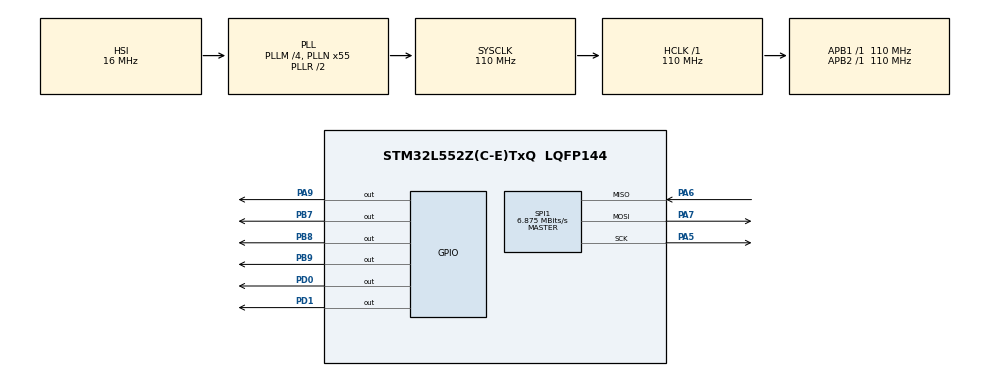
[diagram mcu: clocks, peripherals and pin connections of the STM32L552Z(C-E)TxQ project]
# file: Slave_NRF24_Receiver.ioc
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Mcu.Family=STM32L5
Mcu.Name=STM32L552Z(C-E)TxQ
Mcu.Package=LQFP144
NVIC.PriorityGroup=NVIC_PRIORITYGROUP_3
PA5.Mode=Full_Duplex_Master
PA5.Signal=SPI1_SCK
PA6.Mode=Full_Duplex_Master
PA6.Signal=SPI1_MISO
PA7.Mode=Full_Duplex_Master
PA7.Signal=SPI1_MOSI
PA9.Signal=GPIO_Output
PB7.Signal=GPIO_Output
PB8.Signal=GPIO_Output
PB9.Signal=GPIO_Output
PD0.Signal=GPIO_Output
PD1.Signal=GPIO_Output
PH0-OSC_IN\ (PH0).Mode=HSE-External-Clock-Source
PH0-OSC_IN\ (PH0).Signal=RCC_OSC_IN
ProjectManager.HeapSize=0x200
ProjectManager.StackSize=0x400
ProjectManager.TargetToolchain=STM32CubeIDE
RCC.AHBFreq_Value=110000000
RCC.APB1Freq_Value=110000000
RCC.APB1TimFreq_Value=110000000
RCC.APB2Freq_Value=110000000
RCC.APB2TimFreq_Value=110000000
RCC.CortexFreq_Value=110000000
RCC.HCLKFreq_Value=110000000
RCC.HSE_VALUE=8000000
RCC.HSI48_VALUE=48000000
RCC.HSI_VALUE=16000000
RCC.LSE_VALUE=32768
RCC.MSI_VALUE=4000000
RCC.PLLM=4
RCC.PLLN=55
RCC.PLLSourceVirtual=RCC_PLLSOURCE_HSI
RCC.SYSCLKFreq_VALUE=110000000
RCC.SYSCLKSource=RCC_SYSCLKSOURCE_PLLCLK
RCC.VCOOutputFreq_Value=220000000
SPI1.BaudRatePrescaler=SPI_BAUDRATEPRESCALER_16
SPI1.CalculateBaudRate=6.875 MBits/s
SPI1.DataSize=SPI_DATASIZE_8BIT
SPI1.Direction=SPI_DIRECTION_2LINES
SPI1.Mode=SPI_MODE_MASTER
SPI1.VirtualType=VM_MASTER
VP_PWR_VS_DBSignals.Mode=DisableDeadBatterySignals
VP_PWR_VS_SECSignals.Mode=Security/Privilege
VP_TIM2_VS_ClockSourceINT.Mode=Internal
board=custom

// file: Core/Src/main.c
/* USER CODE BEGIN Header */
/**
  ******************************************************************************
  * @file           : main.c
  * @brief          : Main program body
  ******************************************************************************
  * @attention
  *
  * Copyright (c) 2022 STMicroelectronics.
  * All rights reserved.
  *
  * This software is licensed under terms that can be found in the LICENSE file
  * in the root directory of this software component.
  * If no LICENSE file comes with this software, it is provided AS-IS.
  *
  ******************************************************************************
  */
/* USER CODE END Header */
#include "main.h"

/* USER CODE BEGIN Includes */
#include "NRF24L01.h"
#include "stdio.h"
#include "string.h"
/* USER CODE END Includes */

SPI_HandleTypeDef hspi1;

TIM_HandleTypeDef htim2;

void SystemClock_Config(void);
static void MX_GPIO_Init(void);
static void MX_SPI1_Init(void);
static void MX_TIM2_Init(void);

int main(void)
{

  /* MCU Configuration--------------------------------------------------------*/

  /* Reset of all peripherals, Initializes the Flash interface and the Systick. */
  HAL_Init();

  /* Configure the system clock */
  SystemClock_Config();

  /* Initialize all configured peripherals */
  MX_GPIO_Init();
  MX_SPI1_Init();
  MX_TIM2_Init();
  /* USER CODE BEGIN 2 */
  	NRF24_Init();
    uint8_t RxAddress[] = {0x00,0xDD,0xCC,0xBB,0xAA};
    NRF24_RxMode(RxAddress, 10);
    uint8_t RxData[4];
    uint8_t data[50];
    NRF24_ReadAll(data);

  /* USER CODE END 2 */

  /* Infinite loop */
  /* USER CODE BEGIN WHILE */
  uint32_t tmp=0;
  uint8_t test_status[1] = {0x07};

  while (!isDataAvailable(2)){
  }
  NRF24_Receive(RxData);
  	  for (int i=3; i>=0; i--){
  	  	  tmp |= RxData[i]<<i*8;
  	  }
  	  uwTick = tmp+1;
  /*
  uint8_t data_isavailable=0;
  nrf24_WriteReg(STATUS, (1<<6));
  HAL_GPIO_WritePin(GPIOB, GPIO_PIN_9, GPIO_PIN_RESET);
  while (1){
	  HAL_SPI_Transmit(&hspi1, test_status, 1, 100);
	  HAL_SPI_Receive(&hspi1, &data_isavailable, 1, 100);
	  if ((data_isavailable&(1<<6))&&(data_isavailable&(2<<1))){
	  	HAL_GPIO_WritePin(GPIOB, GPIO_PIN_9, GPIO_PIN_SET);
	  	NRF24_Receive(RxData);
	  	for (int i=3; i>=0; i--){
	  		tmp |= RxData[i]<<i*8;
	  	}
	  	uwTick = tmp+1;
	  	HAL_GPIO_TogglePin(GPIOB, GPIO_PIN_7);
	  	break;
	  }
	  //nrf24_WriteReg(STATUS, (1<<6));
  }
  */

  while (1)
  {
	  HAL_GPIO_TogglePin(GPIOA, GPIO_PIN_9);
	  HAL_Delay(500);

	  /*
	  	if (uwTick%1000==0 && check_is_sync==1) {
	  		if (count-1==tmp_count){
	  			tmp_count=0;
	  			HAL_GPIO_TogglePin(GPIOA, GPIO_PIN_9);
	  			HAL_GPIO_TogglePin(GPIOD, GPIO_PIN_1);
	  			HAL_Delay(1);
	  		} else tmp_count++;
	  	}
	    if (uwTick != tmp_uwTick && check_is_sync==0) {
	    	tmp_uwTick = uwTick;
	    	count = 0;
	    } else if (check_is_sync==0) count++;

	  	if (check_is_sync==0){
			uint8_t data_isavailable=0;
			HAL_GPIO_WritePin(GPIOB, GPIO_PIN_9, GPIO_PIN_RESET);
			HAL_SPI_Transmit(&hspi1, test_status, 1, 100);
			HAL_SPI_Receive(&hspi1, &data_isavailable, 1, 100);
			HAL_GPIO_WritePin(GPIOB, GPIO_PIN_9, GPIO_PIN_SET);

			if ((data_isavailable&(1<<6))&&(data_isavailable&(2<<1))){
				if (count<3000) {//as soon as data is available will check the time.
					NRF24_Receive(RxData);
					for (int i=3; i>=0; i--){
						tmp |= RxData[i]<<i*8;
					}
					uwTick = tmp+2;
					check_is_sync = 1;
					HAL_GPIO_TogglePin(GPIOB, GPIO_PIN_7);
				}
				nrf24_WriteReg(STATUS, (1<<6));
			}
	  	}*/

	  /*
	  if (isDataAvailable(2) == 1 && check==0) {
			NRF24_Receive(RxData);
			for (int i=3; i>=0; i--){
				tmp |= RxData[i]<<i*8;
			}
			uwTick = tmp;
			check = 1;
			HAL_GPIO_TogglePin(GPIOB, GPIO_PIN_7);
			//tmp |= RxData[3]<<24;
			//tmp |= RxData[2]<<16;
			//tmp |= RxData[1]<<8;
			//tmp |= RxData[0];
		}

	  if (uwTick%1000==0) {
		  HAL_GPIO_TogglePin(GPIOA, GPIO_PIN_9);
		  HAL_Delay(4);
	  }
	  */
    /* USER CODE END WHILE */

  }
}

void SystemClock_Config(void)
{
  RCC_OscInitTypeDef RCC_OscInitStruct = {0};
  RCC_ClkInitTypeDef RCC_ClkInitStruct = {0};

  /** Configure the main internal regulator output voltage
  */
  if (HAL_PWREx_ControlVoltageScaling(PWR_REGULATOR_VOLTAGE_SCALE0) != HAL_OK)
  {
    Error_Handler();
  }
  /** Initializes the RCC Oscillators according to the specified parameters
  * in the RCC_OscInitTypeDef structure.
  */
  RCC_OscInitStruct.OscillatorType = RCC_OSCILLATORTYPE_HSI;
  RCC_OscInitStruct.HSIState = RCC_HSI_ON;
  RCC_OscInitStruct.HSICalibrationValue = RCC_HSICALIBRATION_DEFAULT;
  RCC_OscInitStruct.PLL.PLLState = RCC_PLL_ON;
  RCC_OscInitStruct.PLL.PLLSource = RCC_PLLSOURCE_HSI;
  RCC_OscInitStruct.PLL.PLLM = 4;
  RCC_OscInitStruct.PLL.PLLN = 55;
  RCC_OscInitStruct.PLL.PLLP = RCC_PLLP_DIV7;
  RCC_OscInitStruct.PLL.PLLQ = RCC_PLLQ_DIV2;
  RCC_OscInitStruct.PLL.PLLR = RCC_PLLR_DIV2;
  if (HAL_RCC_OscConfig(&RCC_OscInitStruct) != HAL_OK)
  {
    Error_Handler();
  }
  /** Initializes the CPU, AHB and APB buses clocks
  */
  RCC_ClkInitStruct.ClockType = RCC_CLOCKTYPE_HCLK|RCC_CLOCKTYPE_SYSCLK
                              |RCC_CLOCKTYPE_PCLK1|RCC_CLOCKTYPE_PCLK2;
  RCC_ClkInitStruct.SYSCLKSource = RCC_SYSCLKSOURCE_PLLCLK;
  RCC_ClkInitStruct.AHBCLKDivider = RCC_SYSCLK_DIV1;
  RCC_ClkInitStruct.APB1CLKDivider = RCC_HCLK_DIV1;
  RCC_ClkInitStruct.APB2CLKDivider = RCC_HCLK_DIV1;

  if (HAL_RCC_ClockConfig(&RCC_ClkInitStruct, FLASH_LATENCY_5) != HAL_OK)
  {
    Error_Handler();
  }
}

static void MX_SPI1_Init(void)
{

  /* SPI1 parameter configuration*/
  hspi1.Instance = SPI1;
  hspi1.Init.Mode = SPI_MODE_MASTER;
  hspi1.Init.Direction = SPI_DIRECTION_2LINES;
  hspi1.Init.DataSize = SPI_DATASIZE_8BIT;
  hspi1.Init.CLKPolarity = SPI_POLARITY_LOW;
  hspi1.Init.CLKPhase = SPI_PHASE_1EDGE;
  hspi1.Init.NSS = SPI_NSS_SOFT;
  hspi1.Init.BaudRatePrescaler = SPI_BAUDRATEPRESCALER_16;
  hspi1.Init.FirstBit = SPI_FIRSTBIT_MSB;
  hspi1.Init.TIMode = SPI_TIMODE_DISABLE;
  hspi1.Init.CRCCalculation = SPI_CRCCALCULATION_DISABLE;
  hspi1.Init.CRCPolynomial = 7;
  hspi1.Init.CRCLength = SPI_CRC_LENGTH_DATASIZE;
  hspi1.Init.NSSPMode = SPI_NSS_PULSE_ENABLE;
  if (HAL_SPI_Init(&hspi1) != HAL_OK)
  {
    Error_Handler();
  }

}

static void MX_TIM2_Init(void)
{

  TIM_ClockConfigTypeDef sClockSourceConfig = {0};
  TIM_MasterConfigTypeDef sMasterConfig = {0};

  htim2.Instance = TIM2;
  htim2.Init.Prescaler = 0;
  htim2.Init.CounterMode = TIM_COUNTERMODE_UP;
  htim2.Init.Period = 4294967295;
  htim2.Init.ClockDivision = TIM_CLOCKDIVISION_DIV1;
  htim2.Init.AutoReloadPreload = TIM_AUTORELOAD_PRELOAD_DISABLE;
  if (HAL_TIM_Base_Init(&htim2) != HAL_OK)
  {
    Error_Handler();
  }
  sClockSourceConfig.ClockSource = TIM_CLOCKSOURCE_INTERNAL;
  if (HAL_TIM_ConfigClockSource(&htim2, &sClockSourceConfig) != HAL_OK)
  {
    Error_Handler();
  }
  sMasterConfig.MasterOutputTrigger = TIM_TRGO_RESET;
  sMasterConfig.MasterSlaveMode = TIM_MASTERSLAVEMODE_DISABLE;
  if (HAL_TIMEx_MasterConfigSynchronization(&htim2, &sMasterConfig) != HAL_OK)
  {
    Error_Handler();
  }

}

static void MX_GPIO_Init(void)
{
  GPIO_InitTypeDef GPIO_InitStruct = {0};

  /* GPIO Ports Clock Enable */
  __HAL_RCC_GPIOH_CLK_ENABLE();
  __HAL_RCC_GPIOA_CLK_ENABLE();
  __HAL_RCC_GPIOD_CLK_ENABLE();
  __HAL_RCC_GPIOB_CLK_ENABLE();

  /*Configure GPIO pin Output Level */
  HAL_GPIO_WritePin(GPIOA, GPIO_PIN_9, GPIO_PIN_RESET);

  /*Configure GPIO pin Output Level */
  HAL_GPIO_WritePin(GPIOD, GPIO_PIN_0|GPIO_PIN_1, GPIO_PIN_RESET);

  /*Configure GPIO pin Output Level */
  HAL_GPIO_WritePin(GPIOB, GPIO_PIN_7|GPIO_PIN_8|GPIO_PIN_9, GPIO_PIN_RESET);

  /*Configure GPIO pin : PA9 */
  GPIO_InitStruct.Pin = GPIO_PIN_9;
  GPIO_InitStruct.Mode = GPIO_MODE_OUTPUT_PP;
  GPIO_InitStruct.Pull = GPIO_NOPULL;
  GPIO_InitStruct.Speed = GPIO_SPEED_FREQ_LOW;
  HAL_GPIO_Init(GPIOA, &GPIO_InitStruct);

  /*Configure GPIO pins : PD0 PD1 */
  GPIO_InitStruct.Pin = GPIO_PIN_0|GPIO_PIN_1;
  GPIO_InitStruct.Mode = GPIO_MODE_OUTPUT_PP;
  GPIO_InitStruct.Pull = GPIO_NOPULL;
  GPIO_InitStruct.Speed = GPIO_SPEED_FREQ_LOW;
  HAL_GPIO_Init(GPIOD, &GPIO_InitStruct);

  /*Configure GPIO pins : PB7 PB8 PB9 */
  GPIO_InitStruct.Pin = GPIO_PIN_7|GPIO_PIN_8|GPIO_PIN_9;
  GPIO_InitStruct.Mode = GPIO_MODE_OUTPUT_PP;
  GPIO_InitStruct.Pull = GPIO_NOPULL;
  GPIO_InitStruct.Speed = GPIO_SPEED_FREQ_LOW;
  HAL_GPIO_Init(GPIOB, &GPIO_InitStruct);

}

void Error_Handler(void)
{
  __disable_irq();
  while (1)
  {
  }
}
